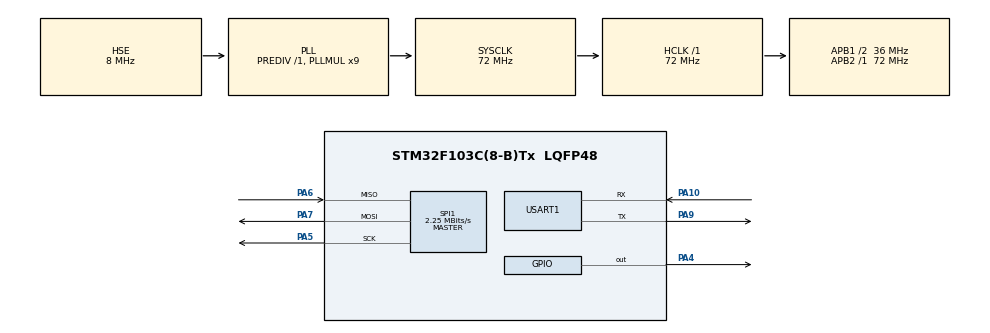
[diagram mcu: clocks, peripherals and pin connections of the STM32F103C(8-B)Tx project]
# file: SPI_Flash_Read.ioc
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Mcu.Family=STM32F1
Mcu.Name=STM32F103C(8-B)Tx
Mcu.Package=LQFP48
NVIC.PriorityGroup=NVIC_PRIORITYGROUP_4
PA10.Mode=Asynchronous
PA10.Signal=USART1_RX
PA13.Mode=Serial_Wire
PA13.Signal=SYS_JTMS-SWDIO
PA14.Mode=Serial_Wire
PA14.Signal=SYS_JTCK-SWCLK
PA4.GPIO_Speed=GPIO_SPEED_FREQ_HIGH
PA4.Signal=GPIO_Output
PA5.Mode=Full_Duplex_Master
PA5.Signal=SPI1_SCK
PA6.Mode=Full_Duplex_Master
PA6.Signal=SPI1_MISO
PA7.Mode=Full_Duplex_Master
PA7.Signal=SPI1_MOSI
PA9.Mode=Asynchronous
PA9.Signal=USART1_TX
PD0-OSC_IN.Mode=HSE-External-Oscillator
PD0-OSC_IN.Signal=RCC_OSC_IN
PD1-OSC_OUT.Mode=HSE-External-Oscillator
PD1-OSC_OUT.Signal=RCC_OSC_OUT
ProjectManager.HeapSize=0x200
ProjectManager.StackSize=0x400
ProjectManager.TargetToolchain=STM32CubeIDE
RCC.AHBFreq_Value=72000000
RCC.APB1CLKDivider=RCC_HCLK_DIV2
RCC.APB1Freq_Value=36000000
RCC.APB1TimFreq_Value=72000000
RCC.APB2Freq_Value=72000000
RCC.APB2TimFreq_Value=72000000
RCC.HCLKFreq_Value=72000000
RCC.PLLMUL=RCC_PLL_MUL9
RCC.PLLSourceVirtual=RCC_PLLSOURCE_HSE
RCC.SYSCLKFreq_VALUE=72000000
RCC.SYSCLKSource=RCC_SYSCLKSOURCE_PLLCLK
RCC.USBFreq_Value=72000000
SPI1.BaudRatePrescaler=SPI_BAUDRATEPRESCALER_32
SPI1.CalculateBaudRate=2.25 MBits/s
SPI1.Direction=SPI_DIRECTION_2LINES
SPI1.Mode=SPI_MODE_MASTER
SPI1.VirtualType=VM_MASTER
USART1.VirtualMode=VM_ASYNC
board=custom

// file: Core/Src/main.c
/* USER CODE BEGIN Header */
/**
  ******************************************************************************
  * @file           : main.c
  * @brief          : Main program body
  ******************************************************************************
  * @attention
  *
  * Copyright (c) 2025 STMicroelectronics.
  * All rights reserved.
  *
  * This software is licensed under terms that can be found in the LICENSE file
  * in the root directory of this software component.
  * If no LICENSE file comes with this software, it is provided AS-IS.
  *
  ******************************************************************************
  */
/* USER CODE END Header */
#include "main.h"

/* USER CODE BEGIN Includes */
#include <stdio.h>
#include <string.h>
#include <w25q_spi.h>
/* USER CODE END Includes */

SPI_HandleTypeDef hspi1;

UART_HandleTypeDef huart1;

/* USER CODE BEGIN PV */

uint8_t rx_buf[1025];
uint8_t tx_buf[10];

/* USER CODE END PV */

void SystemClock_Config(void);
static void MX_GPIO_Init(void);
static void MX_SPI1_Init(void);
static void MX_USART1_UART_Init(void);

int main(void)
{
  /* USER CODE BEGIN 1 */
	char str[30];
	unsigned int addr = 0;
  /* USER CODE END 1 */

  /* MCU Configuration--------------------------------------------------------*/

  /* Reset of all peripherals, Initializes the Flash interface and the Systick. */
  HAL_Init();

  /* Configure the system clock */
  SystemClock_Config();

  /* Initialize all configured peripherals */
  MX_GPIO_Init();
  MX_SPI1_Init();
  MX_USART1_UART_Init();
  /* USER CODE BEGIN 2 */
  w25_Init();

  for(uint16_t k=0; k<4; k++) //читаем первые 4 страницы
    {
	  //w25_Read_Data(k*256, rx_buf, 256);
	  w25_Read_Page(rx_buf, k, 0, 256);
      for(uint8_t i=0; i<16; i++)
      {
        addr = k*256 + i*16;
        sprintf(str,"%08X: ", addr);
        HAL_UART_Transmit(&huart1,(uint8_t*)str,10,0x1000);
        for(uint8_t j=0; j<16; j++)
        {
          sprintf(str,"%02X", rx_buf[(uint16_t)i*16 + (uint16_t)j]);
          HAL_UART_Transmit(&huart1,(uint8_t*)str,2,0x1000);
          if(j==7) HAL_UART_Transmit(&huart1,(uint8_t*)"|",1,0x1000);
          else HAL_UART_Transmit(&huart1,(uint8_t*)" ",1,0x1000);
        }
        HAL_UART_Transmit(&huart1,(uint8_t*)"| ",1,0x1000);
        for(uint8_t j=0; j<16; j++)
        {
          if ((rx_buf[(uint16_t)i*16 + (uint16_t)j] == 0x0A) ||
              (rx_buf[(uint16_t)i*16 + (uint16_t)j] == 0x0D)) sprintf(str," ");
          else sprintf(str,"%c", (char) rx_buf[(uint16_t)i*16 + (uint16_t)j]);
          HAL_UART_Transmit(&huart1,(uint8_t*)str,1,0x1000);
        }
        HAL_UART_Transmit(&huart1,(uint8_t*)"\r\n",2,0x1000);
      }
      HAL_UART_Transmit(&huart1,(uint8_t*)"\r\n",2,0x1000);
    }

  /* USER CODE END 2 */

  /* Infinite loop */
  while (1)
  {

  }
}

void SystemClock_Config(void)
{
  RCC_OscInitTypeDef RCC_OscInitStruct = {0};
  RCC_ClkInitTypeDef RCC_ClkInitStruct = {0};

  /** Initializes the RCC Oscillators according to the specified parameters
  * in the RCC_OscInitTypeDef structure.
  */
  RCC_OscInitStruct.OscillatorType = RCC_OSCILLATORTYPE_HSE;
  RCC_OscInitStruct.HSEState = RCC_HSE_ON;
  RCC_OscInitStruct.HSEPredivValue = RCC_HSE_PREDIV_DIV1;
  RCC_OscInitStruct.HSIState = RCC_HSI_ON;
  RCC_OscInitStruct.PLL.PLLState = RCC_PLL_ON;
  RCC_OscInitStruct.PLL.PLLSource = RCC_PLLSOURCE_HSE;
  RCC_OscInitStruct.PLL.PLLMUL = RCC_PLL_MUL9;
  if (HAL_RCC_OscConfig(&RCC_OscInitStruct) != HAL_OK)
  {
    Error_Handler();
  }

  /** Initializes the CPU, AHB and APB buses clocks
  */
  RCC_ClkInitStruct.ClockType = RCC_CLOCKTYPE_HCLK|RCC_CLOCKTYPE_SYSCLK
                              |RCC_CLOCKTYPE_PCLK1|RCC_CLOCKTYPE_PCLK2;
  RCC_ClkInitStruct.SYSCLKSource = RCC_SYSCLKSOURCE_PLLCLK;
  RCC_ClkInitStruct.AHBCLKDivider = RCC_SYSCLK_DIV1;
  RCC_ClkInitStruct.APB1CLKDivider = RCC_HCLK_DIV2;
  RCC_ClkInitStruct.APB2CLKDivider = RCC_HCLK_DIV1;

  if (HAL_RCC_ClockConfig(&RCC_ClkInitStruct, FLASH_LATENCY_2) != HAL_OK)
  {
    Error_Handler();
  }
}

static void MX_SPI1_Init(void)
{

  /* SPI1 parameter configuration*/
  hspi1.Instance = SPI1;
  hspi1.Init.Mode = SPI_MODE_MASTER;
  hspi1.Init.Direction = SPI_DIRECTION_2LINES;
  hspi1.Init.DataSize = SPI_DATASIZE_8BIT;
  hspi1.Init.CLKPolarity = SPI_POLARITY_LOW;
  hspi1.Init.CLKPhase = SPI_PHASE_1EDGE;
  hspi1.Init.NSS = SPI_NSS_SOFT;
  hspi1.Init.BaudRatePrescaler = SPI_BAUDRATEPRESCALER_32;
  hspi1.Init.FirstBit = SPI_FIRSTBIT_MSB;
  hspi1.Init.TIMode = SPI_TIMODE_DISABLE;
  hspi1.Init.CRCCalculation = SPI_CRCCALCULATION_DISABLE;
  hspi1.Init.CRCPolynomial = 10;
  if (HAL_SPI_Init(&hspi1) != HAL_OK)
  {
    Error_Handler();
  }

}

static void MX_USART1_UART_Init(void)
{

  huart1.Instance = USART1;
  huart1.Init.BaudRate = 115200;
  huart1.Init.WordLength = UART_WORDLENGTH_8B;
  huart1.Init.StopBits = UART_STOPBITS_1;
  huart1.Init.Parity = UART_PARITY_NONE;
  huart1.Init.Mode = UART_MODE_TX_RX;
  huart1.Init.HwFlowCtl = UART_HWCONTROL_NONE;
  huart1.Init.OverSampling = UART_OVERSAMPLING_16;
  if (HAL_UART_Init(&huart1) != HAL_OK)
  {
    Error_Handler();
  }

}

static void MX_GPIO_Init(void)
{
  GPIO_InitTypeDef GPIO_InitStruct = {0};

  /* GPIO Ports Clock Enable */
  __HAL_RCC_GPIOD_CLK_ENABLE();
  __HAL_RCC_GPIOA_CLK_ENABLE();

  /*Configure GPIO pin Output Level */
  HAL_GPIO_WritePin(GPIOA, GPIO_PIN_4, GPIO_PIN_RESET);

  /*Configure GPIO pin : PA4 */
  GPIO_InitStruct.Pin = GPIO_PIN_4;
  GPIO_InitStruct.Mode = GPIO_MODE_OUTPUT_PP;
  GPIO_InitStruct.Pull = GPIO_NOPULL;
  GPIO_InitStruct.Speed = GPIO_SPEED_FREQ_HIGH;
  HAL_GPIO_Init(GPIOA, &GPIO_InitStruct);

}

void Error_Handler(void)
{
  __disable_irq();
  while (1)
  {
  }
}
